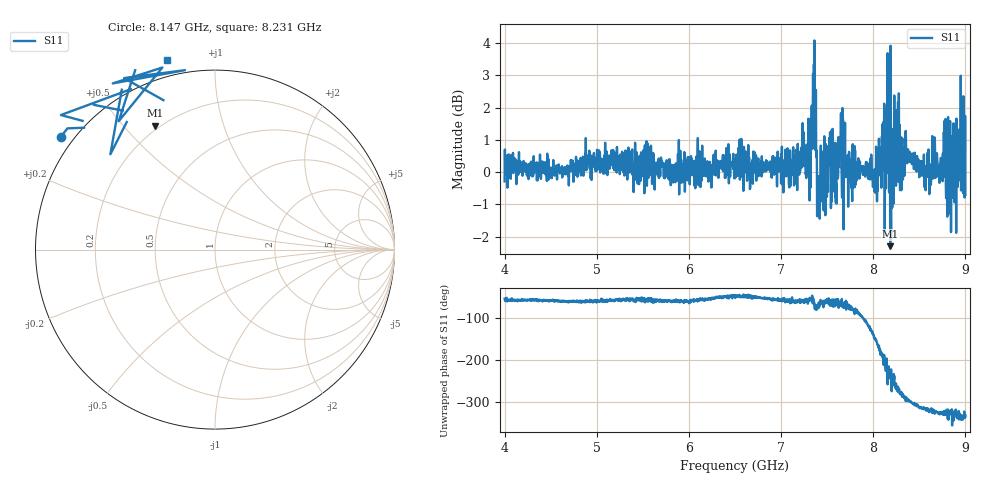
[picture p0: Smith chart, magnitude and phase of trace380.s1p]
! Created with skrf 1.8.0 (http://scikit-rf.org).
# Hz S RI R 50.0
!freq ReS11 ImS11
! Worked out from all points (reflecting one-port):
!   1601 points, 4 GHz to 9 GHz, reference 50 ohm
!   lowest |S11| = -2.3 dB at 8.184 GHz (marker M1), VSWR 7.61, Z = 9.08 + j30.5 ohm
!   phase of S11 starts at -55 deg and turns -277 deg over the sweep
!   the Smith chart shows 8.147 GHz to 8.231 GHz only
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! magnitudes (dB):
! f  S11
! 4 GHz  -0.3
! 4.625 GHz  -0.2
! 5.25 GHz  -0.1
! 5.875 GHz  -0.3
! 6.5 GHz  0.0
! 7.125 GHz  0.2
! 7.294 GHz  0.3
! 7.353 GHz  1.9
! 7.412 GHz  -0.1
! 7.509 GHz  -0.6
! 7.578 GHz  0.6
! 7.647 GHz  1.1
! 7.75 GHz  0.0
! 8.022 GHz  -0.6
! 8.066 GHz  0.1
! 8.097 GHz  0.8
! 8.15 GHz  0.5
! 8.156 GHz  3.7
! 8.184 GHz  -2.3
! 8.209 GHz  0.7
! 8.253 GHz  0.8
! 8.312 GHz  0.8
! 8.375 GHz  0.7
! 8.728 GHz  -0.1
! 8.788 GHz  -0.5
! 8.875 GHz  0.6
! 8.953 GHz  -0.6
! 9 GHz  -0.7
